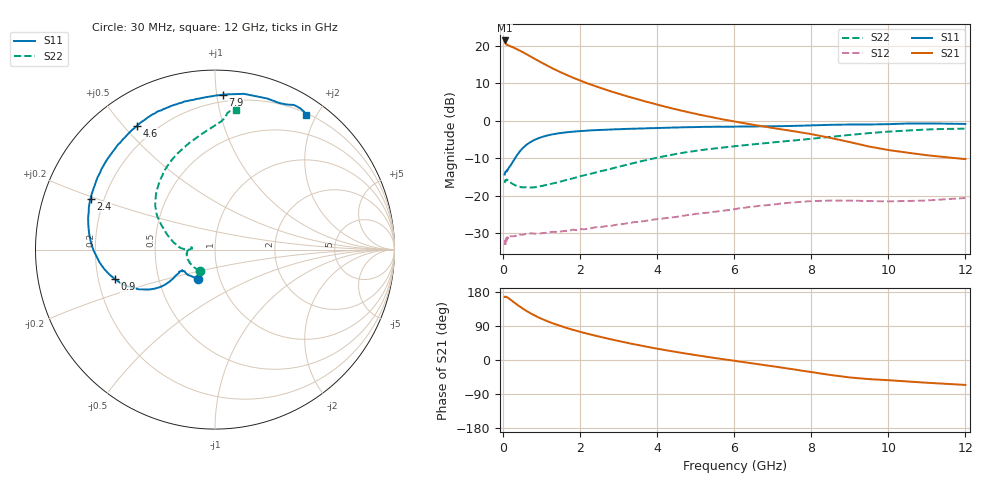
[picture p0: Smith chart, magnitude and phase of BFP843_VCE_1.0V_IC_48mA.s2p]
! Infineon Technologies  Discrete & RF Semiconductors
! BFP843
! VCE =  1.0 V,  IC =  48 mA
! Common Emitter S-Parameters:  Aug 2013
# GHz  S  MA  R  50
!  f  S11  S21  S12  S22
! GHz  MAG  ANG  MAG  ANG  MAG  ANG  MAG  ANG
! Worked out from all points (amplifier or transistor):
!   103 points, 30 MHz to 12 GHz, reference 50 ohm
!   highest |S21| = 21.5 dB at 30 MHz (marker M1)
!   |S21| within 3 dB of that: start of sweep to 479 MHz
!   unconditionally stable (mu >= 1): start of sweep to end of sweep
!   at 400 MHz: K = 1.73, MAG = 19.6 dB, |S12| = -30.3 dB
!   at 3.7 GHz: K = 2.23, MAG = 9.7 dB, |S12| = -26.8 dB
!   at 12 GHz: K = 1.70, MAG = 0.3 dB, |S12| = -20.7 dB
!   S11 on the Smith chart (normalised r, x): 30 MHz: 0.79, -0.27; 900 MHz: 0.27, -0.13; 2.4 GHz: 0.15, +0.19; 4.6 GHz: 0.13, +0.54; 7.9 GHz: 0.15, +1.04; 12 GHz: 0.22, +1.86
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0.03  0.1907 -119.7  11.87 166.4  0.0222 27.8  0.1472 -125.8
0.04  0.197 -130.8  11.3 166.2  0.0248 29.0  0.1531 -140.2
0.05  0.2072 -137.3  11 167.3  0.021 17.6  0.1603 -152.9
0.07  0.2083 -144.6  10.57 166.8  0.0268 17.2  0.1611 -159.4
0.3  0.3143 -144.8  9.334 150.2  0.0286 9.0  0.1373 175.8
0.4  0.3739 -145.8  8.796 142.7  0.0306 9.3  0.1321 174.8
0.5  0.4305 -148.9  8.288 135.8  0.0298 10.2  0.1284 175.0
0.7  0.5172 -156.2  7.27 123.4  0.0311 9.6  0.1281 176.9
0.9  0.5812 -163.6  6.359 112.9  0.0308 10.4  0.1316 178.0
1.1  0.6279 -170.3  5.606 104.0  0.0317 12.6  0.1383 179.1
1.4  0.6755 -179.4  4.681 92.6  0.0325 13.6  0.1499 -179.8
1.7  0.7064 172.8  3.981 82.8  0.0335 15.3  0.1642 179.6
2.1  0.7331 163.8  3.287 71.5  0.0354 17.2  0.1865 177.8
2.4  0.7494 157.7  2.89 63.9  0.0377 20.1  0.2034 175.7
3.2  0.7782 142.9  2.136 45.6  0.0424 21.7  0.2578 165.9
4.1  0.8021 128.6  1.593 28.0  0.049 21.7  0.3294 155.2
4.6  0.816 122.2  1.374 19.3  0.0533 20.6  0.3681 150.4
6.1  0.8359 107.6  0.957 -3.7  0.0671 15.4  0.4618 134.6
7.9  0.8645 87.1  0.676 -30.3  0.0837 0.6  0.5682 112.8
8.5  0.8826 79.5  0.589 -39.6  0.0857 -5.7  0.6089 104.0
10.5  0.9184 61.3  0.374 -56.7  0.0845 -16.8  0.7405 85.5
12  0.9068 56.0  0.307 -65.8  0.0925 -23.9  0.7842 81.4
